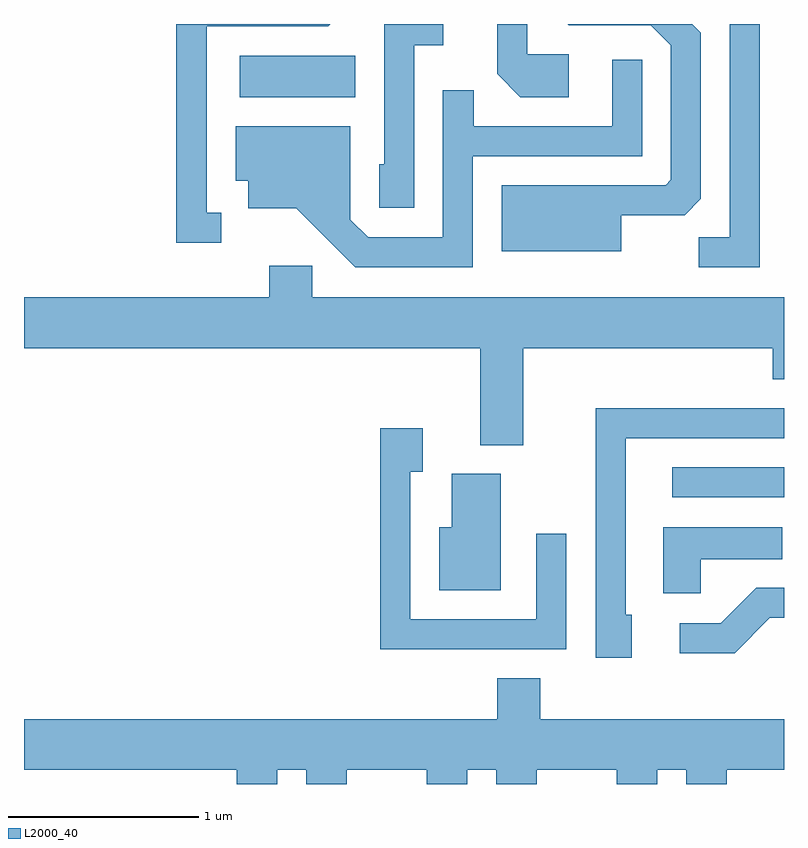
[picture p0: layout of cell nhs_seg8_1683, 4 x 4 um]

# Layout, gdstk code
import gdstk
lib = gdstk.Library(unit=1e-6, precision=1e-09)
def R(c, l, rs):  # rectangles x0, y0, x1, y1
    for r in rs: c.add(gdstk.rectangle(r[:2], r[2:], *l))
def P(c, l, *ps):  # polygons
    for p in ps: c.add(gdstk.Polygon(p, *l))
L2000_40 = (2000, 40)

nhs_seg8_1683 = lib.new_cell('nhs_seg8_1683')
R(nhs_seg8_1683, L2000_40, [(239.023,1837.851,239.611,1838.009), (236.746,1839.956,237.354,1840.174)])
P(nhs_seg8_1683, L2000_40, [(238.479,1840.184),(238.259,1840.184),(238.259,1840.342),(238.101,1840.342),(238.101,1840.079),(238.224,1839.956),(238.479,1839.956)],
  [(237.664,1840.231),(237.818,1840.231),(237.818,1840.342),(237.506,1840.342),(237.506,1839.604),(237.481,1839.604),(237.481,1839.376),(237.664,1839.376)],
  [(238.754,1839.336),(239.089,1839.336),(239.174,1839.422),(239.174,1840.297),(239.129,1840.342),(238.473,1840.342),(238.479,1840.336),(238.909,1840.336),(239.016,1840.229),(239.016,1839.522),(238.989,1839.494),(238.126,1839.494),(238.126,1839.146),(238.754,1839.146)],
  [(239.484,1840.342),(239.326,1840.342),(239.326,1839.219),(239.163,1839.219),(239.163,1839.061),(239.484,1839.061)],
  [(236.648,1839.349),(236.574,1839.349),(236.574,1840.331),(237.212,1840.331),(237.223,1840.342),(236.411,1840.342),(236.411,1839.191),(236.648,1839.191)],
  [(237.974,1839.646),(238.864,1839.646),(238.864,1840.153),(238.706,1840.153),(238.706,1839.804),(237.979,1839.804),(237.979,1839.993),(237.816,1839.993),(237.816,1839.219),(237.422,1839.219),(237.329,1839.312),(237.329,1839.804),(236.726,1839.804),(236.726,1839.516),(236.791,1839.516),(236.791,1839.371),(237.044,1839.371),(237.354,1839.061),(237.974,1839.061)],
  [(238.239,1838.636),(239.551,1838.636),(239.551,1838.471),(239.611,1838.471),(239.611,1838.904),(237.129,1838.904),(237.129,1839.069),(236.901,1839.069),(236.901,1838.904),(235.611,1838.904),(235.611,1838.636),(238.011,1838.636),(238.011,1838.126),(238.239,1838.126)],
  [(238.809,1837.234),(238.779,1837.234),(238.779,1838.161),(239.611,1838.161),(239.611,1838.319),(238.621,1838.319),(238.621,1837.006),(238.809,1837.006)],
  [(238.464,1837.658),(238.306,1837.658),(238.306,1837.209),(237.644,1837.209),(237.644,1837.986),(237.709,1837.986),(237.709,1838.214),(237.486,1838.214),(237.486,1837.051),(238.464,1837.051)],
  [(238.119,1837.974),(237.861,1837.974),(237.861,1837.694),(237.796,1837.694),(237.796,1837.361),(238.119,1837.361)],
  [(239.174,1837.526),(239.603,1837.526),(239.603,1837.694),(238.976,1837.694),(238.976,1837.346),(239.174,1837.346)],
  [(239.537,1837.216),(239.611,1837.216),(239.611,1837.374),(239.464,1837.374),(239.279,1837.189),(239.063,1837.189),(239.063,1837.031),(239.352,1837.031)],
  [(236.944,1836.416),(237.096,1836.416),(237.096,1836.342),(237.309,1836.342),(237.309,1836.416),(237.731,1836.416),(237.731,1836.342),(237.944,1836.342),(237.944,1836.416),(238.096,1836.416),(238.096,1836.342),(238.309,1836.342),(238.309,1836.416),(238.731,1836.416),(238.731,1836.342),(238.944,1836.342),(238.944,1836.416),(239.096,1836.416),(239.096,1836.342),(239.309,1836.342),(239.309,1836.416),(239.611,1836.416),(239.611,1836.684),(238.329,1836.684),(238.329,1836.899),(238.101,1836.899),(238.101,1836.684),(235.611,1836.684),(235.611,1836.416),(236.731,1836.416),(236.731,1836.342),(236.944,1836.342)])

lib.write_gds('nhs_seg8_1683.gds')
